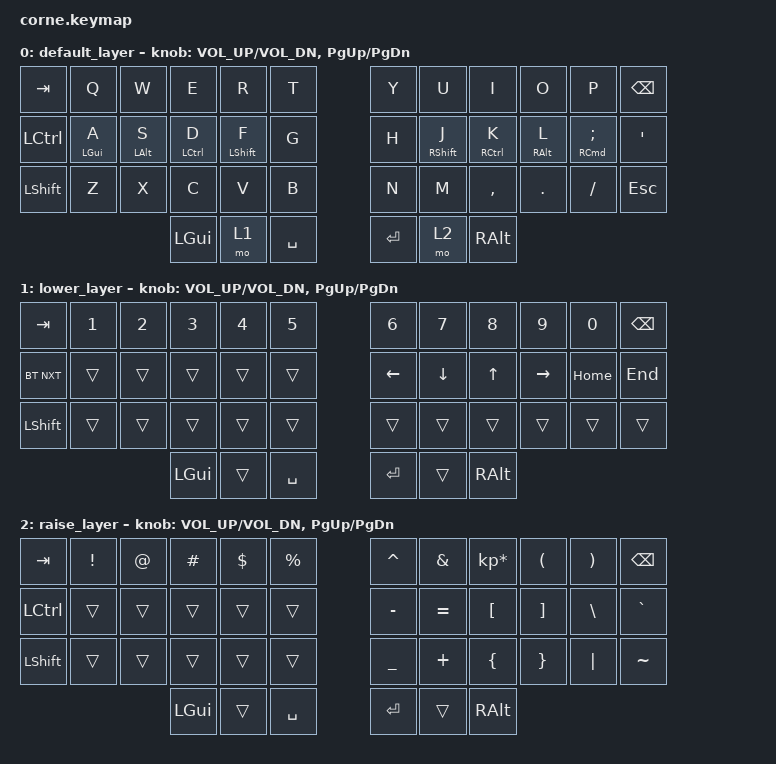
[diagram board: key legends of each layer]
/*
 * Copyright (c) 2020 The ZMK Contributors
 *
 * SPDX-License-Identifier: MIT
 */

#include <behaviors.dtsi>
#include <dt-bindings/zmk/bt.h>
#include <dt-bindings/zmk/keys.h>

/ {
    sensors {
        compatible = "zmk,keymap-sensors";
        sensors = <&left_encoder &right_encoder>;
        triggers-per-rotation = <20>;
    };
};

&led_strip { chain-length = <27>; };

&nice_view_spi { cs-gpios = <&pro_micro 8 GPIO_ACTIVE_HIGH>; };

/ {
    behaviors {
        HML: HML {
            compatible = "zmk,behavior-hold-tap";
            label = "HML";
            bindings = <&kp>, <&kp>;

            #binding-cells = <2>;
            tapping-term-ms = <150>;
            hold-while-undecided;
            hold-trigger-on-release;
            hold-trigger-key-positions = <6 7 9 11 23 22 10 8 19 18 6 7 8 9 10 11 18 19 20 21 22 23 30 31 32 33 34 35 39 40 41>;
            flavor = "tap-preferred";
            require-prior-idle-ms = <125>;
        };

        HMR: HMR {
            compatible = "zmk,behavior-hold-tap";
            label = "HMR";
            bindings = <&kp>, <&kp>;

            #binding-cells = <2>;
            tapping-term-ms = <150>;
            hold-while-undecided;
            hold-trigger-on-release;
            hold-trigger-key-positions = <0 1 2 3 4 5 12 13 14 15 16 17 24 25 26 27 28 29 36 37 38>;
            require-prior-idle-ms = <125>;
            flavor = "tap-preferred";
        };
    };

    keymap {
        compatible = "zmk,keymap";

        default_layer {
            // -----------------------------------------------------------------------------------------
            // |  TAB |  Q  |  W  |  E  |  R  |  T  |   |  Y  |  U   |  I  |  O  |  P  | BKSP |
            // | CTRL |  A  |  S  |  D  |  F  |  G  |   |  H  |  J   |  K  |  L  |  ;  |  '   |
            // | SHFT |  Z  |  X  |  C  |  V  |  B  |   |  N  |  M   |  ,  |  .  |  /  | ESC  |
            //                    | GUI | LWR | SPC |   | ENT | RSE  | ALT |

            bindings = <
&kp TAB    &kp Q            &kp W            &kp E         &kp R          &kp T        &kp Y    &kp U               &kp I         &kp O             &kp P                    &kp BSPC
&kp LCTRL  &HML LEFT_GUI A  &HML LEFT_ALT S  &HML LCTRL D  &HML LSHIFT F  &kp G        &kp H    &HMR RIGHT_SHIFT J  &HMR RCTRL K  &HMR RIGHT_ALT L  &HMR RIGHT_COMMAND SEMI  &kp SQT
&kp LSHFT  &kp Z            &kp X            &kp C         &kp V          &kp B        &kp N    &kp M               &kp COMMA     &kp DOT           &kp FSLH                 &kp ESC
                                             &kp LGUI      &mo 1          &kp SPACE    &kp RET  &mo 2               &kp RALT
            >;

            sensor-bindings = <
                        &inc_dec_kp C_VOL_UP C_VOL_DN
                        &inc_dec_kp PG_UP PG_DN
            >;
        };

        lower_layer {
            // -----------------------------------------------------------------------------------------
            // |  TAB |  1  |  2  |  3  |  4  |  5  |   |  6  |  7  |  8  |  9  |  0  | BKSP |
            // | BTCLR| BT1 | BT2 | BT3 | BT4 | BT5 |   | LFT | DWN |  UP | RGT |     |      |
            // | SHFT |     |     |     |     |     |   |     |     |     |     |     |      |
            //                    | GUI |     | SPC |   | ENT |     | ALT |

            bindings = <
&kp TAB     &kp N1  &kp N2  &kp N3    &kp N4  &kp N5       &kp N6    &kp N7    &kp N8    &kp N9     &kp N0    &kp BSPC
&bt BT_NXT  &trans  &trans  &trans    &trans  &trans       &kp LEFT  &kp DOWN  &kp UP    &kp RIGHT  &kp HOME  &kp END
&kp LSHFT   &trans  &trans  &trans    &trans  &trans       &trans    &trans    &trans    &trans     &trans    &trans
                            &kp LGUI  &trans  &kp SPACE    &kp RET   &trans    &kp RALT
            >;

            sensor-bindings = <
                                &inc_dec_kp C_VOL_UP C_VOL_DN 
                                &inc_dec_kp PG_UP PG_DN
            >;
        };

        raise_layer {
            // -----------------------------------------------------------------------------------------
            // |  TAB |  !  |  @  |  #  |  $  |  %  |   |  ^  |  &  |  *  |  (  |  )  | BKSP |
            // | CTRL |     |     |     |     |     |   |  -  |  =  |  [  |  ]  |  \  |  `   |
            // | SHFT |     |     |     |     |     |   |  _  |  +  |  {  |  }  | "|" |  ~   |
            //                    | GUI |     | SPC |   | ENT |     | ALT |

            bindings = <
&kp TAB    &kp EXCL  &kp AT  &kp HASH  &kp DLLR  &kp PRCNT    &kp CARET  &kp AMPS   &kp KP_MULTIPLY  &kp LPAR  &kp RPAR  &kp BSPC
&kp LCTRL  &trans    &trans  &trans    &trans    &trans       &kp MINUS  &kp EQUAL  &kp LBKT         &kp RBKT  &kp BSLH  &kp GRAVE
&kp LSHFT  &trans    &trans  &trans    &trans    &trans       &kp UNDER  &kp PLUS   &kp LBRC         &kp RBRC  &kp PIPE  &kp TILDE
                             &kp LGUI  &trans    &kp SPACE    &kp RET    &trans     &kp RALT
            >;

            sensor-bindings = <
                                &inc_dec_kp C_VOL_UP C_VOL_DN 
                                &inc_dec_kp PG_UP PG_DN
            >;
        };
    };
};
